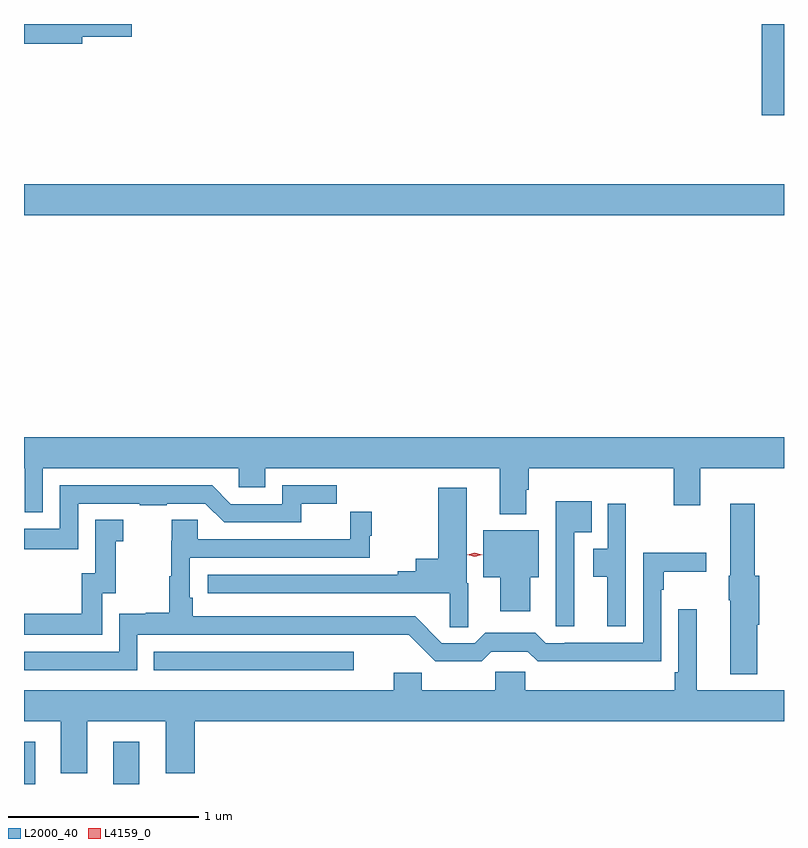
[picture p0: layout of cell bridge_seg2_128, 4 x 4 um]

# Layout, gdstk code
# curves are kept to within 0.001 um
import gdstk
lib = gdstk.Library(unit=1e-6, precision=1e-09)
def R(c, l, rs):  # rectangles x0, y0, x1, y1
    for r in rs: c.add(gdstk.rectangle(r[:2], r[2:], *l))
def P(c, l, *ps):  # polygons
    for p in ps: c.add(gdstk.Polygon(p, *l))
L2000_40 = (2000, 40)
L4159_0 = (4159, 0)

bridge_seg2_128 = lib.new_cell('bridge_seg2_128')
R(bridge_seg2_128, L2000_40, [(383.613,588.699,383.671,588.922), (384.083,588.699,384.22,588.922), (384.295,589.299,385.348,589.395), (383.613,591.692,387.613,591.856), (387.497,592.22,387.613,592.699)])
P(bridge_seg2_128, L2000_40, [(383.92,592.631),(384.181,592.631),(384.181,592.699),(383.613,592.699),(383.613,592.594),(383.92,592.594)],
  [(386.257,590.247),(386.27,590.247),(386.27,590.36),(387.032,590.36),(387.032,590.166),(387.172,590.166),(387.172,590.36),(387.613,590.36),(387.613,590.524),(383.613,590.524),(383.613,590.36),(383.616,590.36),(383.616,590.128),(383.712,590.128),(383.712,590.36),(384.744,590.36),(384.744,590.262),(384.883,590.262),(384.883,590.36),(386.117,590.36),(386.117,590.12),(386.257,590.12)],
  [(383.898,590.175),(384.223,590.175),(384.223,590.166),(384.364,590.166),(384.364,590.175),(384.567,590.175),(384.666,590.076),(385.073,590.076),(385.073,590.174),(385.258,590.174),(385.258,590.271),(384.972,590.271),(384.972,590.172),(384.702,590.172),(384.603,590.271),(383.802,590.271),(383.802,590.043),(383.613,590.043),(383.613,589.935),(383.898,589.935)],
  [(385.951,589.755),(385.942,589.755),(385.942,590.257),(385.792,590.257),(385.792,589.885),(385.676,589.885),(385.676,589.82),(385.58,589.82),(385.58,589.8),(384.579,589.8),(384.579,589.704),(385.854,589.704),(385.854,589.525),(385.951,589.525)],
  [(386.508,590.024),(386.6,590.024),(386.6,590.188),(386.412,590.188),(386.412,589.528),(386.508,589.528)],
  [(386.781,590.173),(386.685,590.173),(386.685,589.936),(386.609,589.936),(386.609,589.789),(386.684,589.789),(386.684,589.528),(386.781,589.528)],
  [(387.473,589.536),(387.484,589.536),(387.484,589.794),(387.46,589.794),(387.46,590.173),(387.329,590.173),(387.329,589.794),(387.322,589.794),(387.322,589.665),(387.329,589.665),(387.329,589.277),(387.473,589.277)],
  [(384.21,589.485),(385.637,589.484),(385.777,589.344),(386.022,589.344),(386.073,589.395),(386.265,589.395),(386.317,589.344),(386.51,589.344),(386.51,589.346),(386.967,589.346),(386.967,589.721),(386.98,589.721),(386.98,589.817),(387.205,589.817),(387.205,589.917),(386.871,589.917),(386.871,589.443),(386.458,589.443),(386.458,589.44),(386.358,589.44),(386.303,589.495),(386.041,589.495),(385.986,589.44),(385.812,589.44),(385.671,589.581),(384.502,589.581),(384.502,589.678),(384.486,589.678),(384.486,589.89),(385.434,589.89),(385.434,590.006),(385.444,590.006),(385.444,590.131),(385.33,590.131),(385.33,589.986),(384.527,589.986),(384.527,590.09),(384.391,590.09),(384.391,589.979),(384.388,589.979),(384.388,589.793),(384.378,589.793),(384.378,589.601),(384.255,589.601),(384.255,589.594),(384.114,589.594),(384.114,589.395),(383.613,589.395),(383.613,589.299),(384.21,589.299)],
  [(384.024,589.703),(384.097,589.703),(384.097,589.976),(384.136,589.976),(384.136,590.09),(383.988,590.09),(383.988,589.807),(383.916,589.807),(383.916,589.594),(383.613,589.594),(383.613,589.485),(384.024,589.485)],
  [(386.278,589.787),(386.323,589.787),(386.323,590.035),(386.03,590.035),(386.03,589.787),(386.12,589.787),(386.12,589.608),(386.278,589.608)],
  [(383.947,589.028),(384.359,589.028),(384.359,588.755),(384.512,588.755),(384.512,589.028),(387.613,589.028),(387.613,589.192),(387.154,589.192),(387.154,589.618),(387.057,589.618),(387.057,589.288),(387.037,589.288),(387.037,589.192),(386.252,589.192),(386.252,589.29),(386.092,589.29),(386.092,589.192),(385.707,589.192),(385.707,589.285),(385.559,589.285),(385.559,589.192),(383.613,589.192),(383.613,589.028),(383.807,589.028),(383.807,588.755),(383.947,588.755)])
P(bridge_seg2_128, L4159_0, [(385.986,589.896),(385.947,589.905),(385.947,589.906),(385.947,589.906),(385.986,589.916),(386.024,589.906),(386.025,589.906),(386.024,589.906)])

lib.write_gds('bridge_seg2_128.gds')
